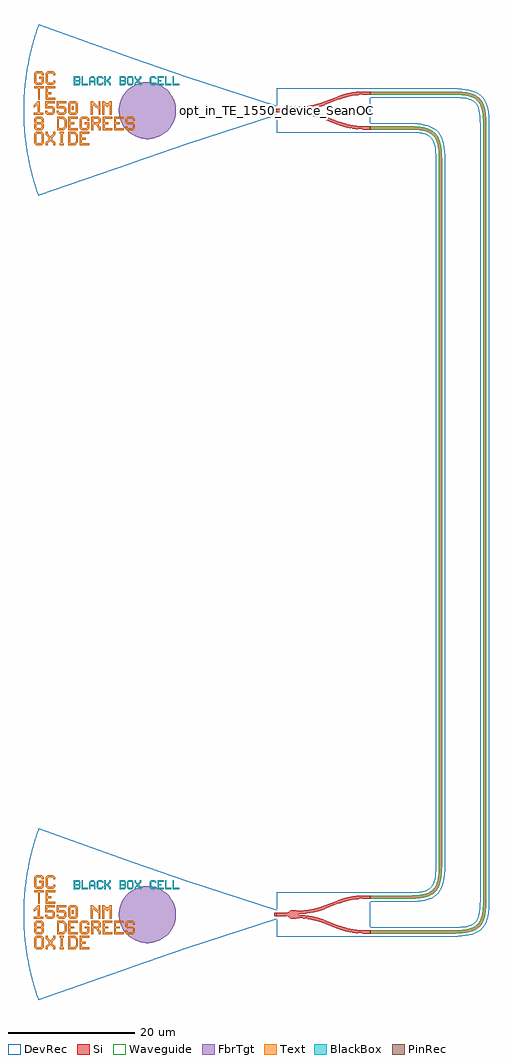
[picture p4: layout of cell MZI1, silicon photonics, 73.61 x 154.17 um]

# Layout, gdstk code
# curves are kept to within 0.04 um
import gdstk
lib = gdstk.Library(unit=1e-6, precision=1e-09)
def R(c, l, rs):  # rectangles x0, y0, x1, y1
    for r in rs: c.add(gdstk.rectangle(r[:2], r[2:], *l))
def P(c, l, *ps):  # polygons
    for p in ps: c.add(gdstk.Polygon(p, *l))
Si = (1, 0)
PinRec = (1, 10)
Waveguide = (1, 99)
Text = (10, 0)
DevRec = (68, 0)
FbrTgt = (81, 0)
BlackBox = (998, 0)

text = lib.new_cell('TEXT')
P(text, BlackBox, [(0,0),(0,1.4),(0.8,1.4),(1,1.2),(0.2,1.2),(0.2,0.8),(0.7,0.8),(0.8,0.9),(0.8,1.1),(0.7,1.2),(1,1.2),(1,0.8),(0.9,0.7),(1,0.6),(0.2,0.6),(0.2,0.2),(0.7,0.2),(0.8,0.3),(0.8,0.5),(0.7,0.6),(1,0.6),(1,0.2),(0.8,0)],
  [(1.2,0),(1.2,1.4),(1.4,1.4),(1.4,0.2),(2.2,0.2),(2.2,0)],
  [(2.4,0),(2.4,1.1),(2.7,1.4),(3.1,1.4),(3.3,1.2),(2.8,1.2),(2.6,1),(2.6,0.7),(3.2,0.7),(3.2,1),(3,1.2),(3.3,1.2),(3.4,1.1),(3.4,0),(3.2,0),(3.2,0.5),(2.6,0.5),(2.6,0)],
  [(3.8,0),(3.6,0.2),(3.6,1.2),(3.8,1.4),(4.4,1.4),(4.6,1.2),(4.6,1),(4.4,1),(4.4,1.1),(4.3,1.2),(3.9,1.2),(3.8,1.1),(3.8,0.3),(3.9,0.2),(4.3,0.2),(4.4,0.3),(4.4,0.4),(4.6,0.4),(4.6,0.2),(4.4,0)],
  [(4.8,0),(4.8,1.4),(5,1.4),(5,0.8),(5.2,0.8),(5.6,1.2),(5.6,1.4),(5.8,1.4),(5.8,1.1),(5.4,0.7),(5.8,0.3),(5.8,0),(5.6,0),(5.6,0.2),(5.2,0.6),(5,0.6),(5,0)],
  [(7.2,0),(7.2,1.4),(8,1.4),(8.2,1.2),(7.4,1.2),(7.4,0.8),(7.9,0.8),(8,0.9),(8,1.1),(7.9,1.2),(8.2,1.2),(8.2,0.8),(8.1,0.7),(8.2,0.6),(7.4,0.6),(7.4,0.2),(7.9,0.2),(8,0.3),(8,0.5),(7.9,0.6),(8.2,0.6),(8.2,0.2),(8,0)],
  [(8.6,0),(8.4,0.2),(8.4,1.2),(8.6,1.4),(9.2,1.4),(9.4,1.2),(9.4,0.7),(9.2,0.7),(9.2,1.1),(9.1,1.2),(8.7,1.2),(8.6,1.1),(8.6,0.3),(8.7,0.2),(9.1,0.2),(9.2,0.3),(9.2,0.7),(9.4,0.7),(9.4,0.2),(9.2,0)],
  [(9.6,0),(9.6,0.3),(9.9,0.6),(9.9,0.8),(9.6,1.1),(9.6,1.4),(9.8,1.4),(9.8,1.2),(10.1,0.9),(10.4,1.2),(10.4,1.4),(10.6,1.4),(10.6,1.1),(10.3,0.8),(10.3,0.6),(10.6,0.3),(10.6,0),(10.4,0),(10.4,0.2),(10.1,0.5),(9.8,0.2),(9.8,0)],
  [(12.2,0),(12,0.2),(12,1.2),(12.2,1.4),(12.8,1.4),(13,1.2),(13,1),(12.8,1),(12.8,1.1),(12.7,1.2),(12.3,1.2),(12.2,1.1),(12.2,0.3),(12.3,0.2),(12.7,0.2),(12.8,0.3),(12.8,0.4),(13,0.4),(13,0.2),(12.8,0)],
  [(13.2,0),(13.2,1.4),(14.2,1.4),(14.2,1.2),(13.4,1.2),(13.4,0.8),(13.8,0.8),(13.8,0.6),(13.4,0.6),(13.4,0.2),(14.2,0.2),(14.2,0)],
  [(14.4,0),(14.4,1.4),(14.6,1.4),(14.6,0.2),(15.4,0.2),(15.4,0)],
  [(15.6,0),(15.6,1.4),(15.8,1.4),(15.8,0.2),(16.6,0.2),(16.6,0)])

gc_te_1550_8degoxide_bb = lib.new_cell('GC_TE_1550_8degOxide_BB')
R(gc_te_1550_8degoxide_bb, Si, [(-0.4,-0.25,0,0.25)])
R(gc_te_1550_8degoxide_bb, Text, [(-32.313,0.092,-32.013,0.692)])
P(gc_te_1550_8degoxide_bb, Text, [(-37.67,1.71),(-37.67,3.51),(-38.27,3.51),(-38.27,3.81),(-36.77,3.81),(-36.77,3.51),(-37.37,3.51),(-37.37,1.71)],
  [(-37.97,-5.49),(-38.27,-5.19),(-38.27,-3.69),(-37.97,-3.39),(-37.07,-3.39),(-36.77,-3.69),(-36.77,-4.44),(-37.07,-4.44),(-37.07,-3.84),(-37.22,-3.69),(-37.82,-3.69),(-37.97,-3.84),(-37.97,-5.04),(-37.82,-5.19),(-37.22,-5.19),(-37.07,-5.04),(-37.07,-4.44),(-36.77,-4.44),(-36.77,-5.19),(-37.07,-5.49)],
  [(-31.07,-5.49),(-31.07,-3.39),(-29.57,-3.39),(-29.57,-3.69),(-30.77,-3.69),(-30.77,-4.29),(-30.17,-4.29),(-30.17,-4.59),(-30.77,-4.59),(-30.77,-5.19),(-29.57,-5.19),(-29.57,-5.49)],
  [(-32.87,-3.09),(-32.87,-0.99),(-31.37,-0.99),(-31.37,-1.29),(-32.57,-1.29),(-32.57,-1.89),(-31.97,-1.89),(-31.97,-2.19),(-32.57,-2.19),(-32.57,-2.79),(-31.37,-2.79),(-31.37,-3.09)],
  [(-27.47,-3.09),(-27.47,-0.99),(-25.97,-0.99),(-25.97,-1.29),(-27.17,-1.29),(-27.17,-1.89),(-26.57,-1.89),(-26.57,-2.19),(-27.17,-2.19),(-27.17,-2.79),(-25.97,-2.79),(-25.97,-3.09)],
  [(-25.67,-3.09),(-25.67,-0.99),(-24.17,-0.99),(-24.17,-1.29),(-25.37,-1.29),(-25.37,-1.89),(-24.77,-1.89),(-24.77,-2.19),(-25.37,-2.19),(-25.37,-2.79),(-24.17,-2.79),(-24.17,-3.09)],
  [(-36.47,1.71),(-36.47,3.81),(-34.97,3.81),(-34.97,3.51),(-36.17,3.51),(-36.17,2.91),(-35.57,2.91),(-35.57,2.61),(-36.17,2.61),(-36.17,2.01),(-34.97,2.01),(-34.97,1.71)],
  [(-29.313,-0.658),(-29.313,1.442),(-29.013,1.442),(-28.263,0.692),(-28.113,0.692),(-28.113,1.442),(-27.813,1.442),(-27.813,-0.658),(-28.113,-0.658),(-28.113,0.092),(-28.863,0.842),(-29.013,0.842),(-29.013,-0.658)],
  [(-34.22,-5.49),(-34.22,-5.19),(-34.07,-5.19),(-34.07,-3.69),(-34.22,-3.69),(-34.22,-3.39),(-33.62,-3.39),(-33.62,-3.69),(-33.77,-3.69),(-33.77,-5.19),(-33.62,-5.19),(-33.62,-5.49)],
  [(-36.17,4.11),(-36.47,4.41),(-36.47,5.91),(-36.17,6.21),(-35.27,6.21),(-34.97,5.91),(-34.97,5.61),(-35.27,5.61),(-35.27,5.76),(-35.42,5.91),(-36.02,5.91),(-36.17,5.76),(-36.17,4.56),(-36.02,4.41),(-35.42,4.41),(-35.27,4.56),(-35.27,4.71),(-34.97,4.71),(-34.97,4.41),(-35.27,4.11)],
  [(-27.513,-0.658),(-27.513,1.442),(-27.213,1.442),(-26.913,1.142),(-26.613,1.142),(-26.313,1.442),(-26.013,1.442),(-26.013,-0.658),(-26.313,-0.658),(-26.313,0.842),(-26.463,0.842),(-26.763,0.542),(-27.063,0.842),(-27.213,0.842),(-27.213,-0.658)],
  [(-32.613,-0.658),(-32.913,-0.358),(-32.913,1.142),(-32.613,1.442),(-31.713,1.442),(-31.413,1.142),(-32.463,1.142),(-32.613,0.992),(-32.613,-0.208),(-32.463,-0.358),(-31.863,-0.358),(-31.713,-0.208),(-31.713,0.992),(-31.863,1.142),(-31.413,1.142),(-31.413,-0.358),(-31.713,-0.658)],
  [(-32.87,-5.49),(-32.87,-3.39),(-31.82,-3.39),(-31.52,-3.69),(-32.57,-3.69),(-32.57,-5.19),(-31.97,-5.19),(-31.67,-4.89),(-31.67,-3.99),(-31.97,-3.69),(-31.52,-3.69),(-31.37,-3.84),(-31.37,-5.04),(-31.82,-5.49)],
  [(-34.67,-3.09),(-34.67,-0.99),(-33.62,-0.99),(-33.32,-1.29),(-34.37,-1.29),(-34.37,-2.79),(-33.77,-2.79),(-33.47,-2.49),(-33.47,-1.59),(-33.77,-1.29),(-33.32,-1.29),(-33.17,-1.44),(-33.17,-2.64),(-33.62,-3.09)],
  [(-23.57,-3.09),(-23.87,-2.79),(-23.87,-2.49),(-23.57,-2.49),(-23.57,-2.64),(-23.42,-2.79),(-22.82,-2.79),(-22.67,-2.64),(-22.67,-2.34),(-22.82,-2.19),(-23.57,-2.19),(-23.87,-1.89),(-23.87,-1.29),(-23.57,-0.99),(-22.67,-0.99),(-22.37,-1.29),(-22.37,-1.59),(-22.67,-1.59),(-22.67,-1.44),(-22.82,-1.29),(-23.42,-1.29),(-23.57,-1.44),(-23.57,-1.74),(-23.42,-1.89),(-22.67,-1.89),(-22.37,-2.19),(-22.37,-2.79),(-22.67,-3.09)],
  [(-36.213,-0.658),(-36.513,-0.358),(-36.513,-0.058),(-36.213,-0.058),(-36.213,-0.208),(-36.063,-0.358),(-35.463,-0.358),(-35.313,-0.208),(-35.313,0.242),(-35.463,0.392),(-36.513,0.392),(-36.513,1.442),(-35.013,1.442),(-35.013,1.142),(-36.213,1.142),(-36.213,0.692),(-35.313,0.692),(-35.013,0.392),(-35.013,-0.358),(-35.313,-0.658)],
  [(-34.413,-0.658),(-34.713,-0.358),(-34.713,-0.058),(-34.413,-0.058),(-34.413,-0.208),(-34.263,-0.358),(-33.663,-0.358),(-33.513,-0.208),(-33.513,0.242),(-33.663,0.392),(-34.713,0.392),(-34.713,1.442),(-33.213,1.442),(-33.213,1.142),(-34.413,1.142),(-34.413,0.692),(-33.513,0.692),(-33.213,0.392),(-33.213,-0.358),(-33.513,-0.658)],
  [(-37.97,-3.09),(-38.27,-2.79),(-38.27,-2.19),(-38.12,-2.04),(-38.27,-1.89),(-38.27,-1.29),(-37.97,-0.99),(-37.07,-0.99),(-36.77,-1.29),(-37.82,-1.29),(-37.97,-1.44),(-37.97,-1.74),(-37.82,-1.89),(-37.22,-1.89),(-37.07,-1.74),(-37.07,-1.44),(-37.22,-1.29),(-36.77,-1.29),(-36.77,-1.89),(-36.92,-2.04),(-36.77,-2.19),(-37.82,-2.19),(-37.97,-2.34),(-37.97,-2.64),(-37.82,-2.79),(-37.22,-2.79),(-37.07,-2.64),(-37.07,-2.34),(-37.22,-2.19),(-36.77,-2.19),(-36.77,-2.79),(-37.07,-3.09)],
  [(-38.313,-0.658),(-38.313,-0.358),(-37.713,-0.358),(-37.713,0.842),(-37.863,0.842),(-38.163,0.542),(-38.313,0.542),(-38.313,0.842),(-37.713,1.442),(-37.413,1.442),(-37.413,-0.358),(-36.813,-0.358),(-36.813,-0.658)],
  [(-36.47,-5.49),(-36.47,-5.04),(-36.02,-4.59),(-36.02,-4.29),(-36.47,-3.84),(-36.47,-3.39),(-36.17,-3.39),(-36.17,-3.69),(-35.72,-4.14),(-35.27,-3.69),(-35.27,-3.39),(-34.97,-3.39),(-34.97,-3.84),(-35.42,-4.29),(-35.42,-4.59),(-34.97,-5.04),(-34.97,-5.49),(-35.27,-5.49),(-35.27,-5.19),(-35.72,-4.74),(-36.17,-5.19),(-36.17,-5.49)],
  [(-30.77,-3.09),(-31.07,-2.79),(-31.07,-1.29),(-30.77,-0.99),(-29.87,-0.99),(-29.57,-1.29),(-29.57,-1.59),(-29.87,-1.59),(-29.87,-1.44),(-30.02,-1.29),(-30.62,-1.29),(-30.77,-1.44),(-30.77,-2.64),(-30.62,-2.79),(-30.02,-2.79),(-29.87,-2.64),(-29.87,-2.19),(-30.32,-2.19),(-30.32,-1.89),(-29.57,-1.89),(-29.57,-2.79),(-29.87,-3.09)],
  [(-37.97,4.11),(-38.27,4.41),(-38.27,5.91),(-37.97,6.21),(-37.07,6.21),(-36.77,5.91),(-36.77,5.61),(-37.07,5.61),(-37.07,5.76),(-37.22,5.91),(-37.82,5.91),(-37.97,5.76),(-37.97,4.56),(-37.82,4.41),(-37.22,4.41),(-37.07,4.56),(-37.07,5.01),(-37.52,5.01),(-37.52,5.31),(-36.77,5.31),(-36.77,4.41),(-37.07,4.11)],
  [(-29.27,-3.09),(-29.27,-0.99),(-28.07,-0.99),(-27.77,-1.29),(-28.97,-1.29),(-28.97,-1.89),(-28.22,-1.89),(-28.07,-1.74),(-28.07,-1.44),(-28.22,-1.29),(-27.77,-1.29),(-27.77,-1.89),(-28.07,-2.19),(-28.07,-2.34),(-27.77,-2.64),(-27.77,-3.09),(-28.07,-3.09),(-28.07,-2.79),(-28.67,-2.19),(-28.97,-2.19),(-28.97,-3.09)])
P(gc_te_1550_8degoxide_bb, DevRec, [(-37.607,-13.5),(-38.627,-10.245),(-39.378,-6.832),(-39.647,-5.058),(-39.835,-3.274),(-39.969,0.224),(-39.812,3.541),(-39.331,7.097),(-38.557,10.505),(-37.546,13.669),(-22.8,8.353),(-14.109,5.36),(0,0.75),(0,-0.75),(-14.109,-5.36)])
P(gc_te_1550_8degoxide_bb, FbrTgt, [(-20.621,-4.5),(-21.495,-4.37),(-22.326,-4.073),(-23.084,-3.619),(-23.738,-3.026),(-24.264,-2.316),(-24.642,-1.518),(-24.857,-0.661),(-24.9,0.221),(-24.77,1.095),(-24.473,1.926),(-24.019,2.684),(-23.426,3.338),(-22.716,3.864),(-21.918,4.242),(-21.061,4.457),(-20.179,4.5),(-19.305,4.37),(-18.474,4.073),(-17.716,3.619),(-17.062,3.026),(-16.536,2.316),(-16.158,1.518),(-15.943,0.661),(-15.9,-0.221),(-16.03,-1.095),(-16.327,-1.926),(-16.781,-2.684),(-17.374,-3.338),(-18.084,-3.864),(-18.882,-4.242),(-19.739,-4.457)])
gc_te_1550_8degoxide_bb.add(gdstk.FlexPath([(-0.01,0),(0.01,0)], 0.5, ends="flush", simple_path=True, layer=1, datatype=10))  # PinRec
gc_te_1550_8degoxide_bb.add(gdstk.Reference(text, (-32,4)))
gc_te_1550_8degoxide_bb.add(gdstk.Label('opt1', (0,0), layer=1, texttype=10))
gc_te_1550_8degoxide_bb.add(gdstk.Label('Lumerical_INTERCONNECT_library=Design kits/ebeam', (-29,-7), layer=68, texttype=0))
gc_te_1550_8degoxide_bb.add(gdstk.Label('Component=GC_TE_1550_8degOxide_BB', (-28,-5), layer=68, texttype=0))

ebeam_y_1550 = lib.new_cell('ebeam_y_1550')
R(ebeam_y_1550, Si, [(6.5,-3,7.4,-2.5), (-7.4,-0.25,-6,0.25), (6.5,2.5,7.4,3)])
P(ebeam_y_1550, Si, [(6.458,-3),(6.237,-2.997),(6.237,-2.497),(6.5,-2.5),(6.5,-3)],
  [(5.033,-2.908),(3.59,-2.634),(2.265,-2.21),(2.445,-1.744),(3.731,-2.154),(5.033,-2.404)],
  [(6.233,-2.997),(5.033,-2.908),(5.033,-2.404),(6.237,-2.497)],
  [(2.265,-2.21),(0.055,-1.356),(0.235,-0.89),(2.445,-1.744)],
  [(-0.762,-1.076),(-2.334,-0.724),(-4,-0.6),(-4,-0.1),(-2.381,-0.212),(-0.762,-0.555)],
  [(0.055,-1.356),(-0.762,-1.076),(-0.762,-0.555),(0.235,-0.89)],
  [(6.237,2.497),(6.237,2.997),(6.5,3),(6.5,2.5)],
  [(2.445,1.744),(2.267,2.211),(3.59,2.634),(5.033,2.908),(5.033,2.404),(3.731,2.154)],
  [(5.033,2.404),(5.033,2.908),(6.237,2.997),(6.237,2.497)],
  [(0.235,0.89),(0.055,1.356),(2.265,2.21),(2.445,1.744)],
  [(-4,0.1),(-4,0.6),(-2.334,0.724),(-0.762,1.076),(-0.762,0.555),(-2.381,0.212)],
  [(-0.762,0.555),(-0.762,1.076),(0.055,1.356),(0.235,0.89)],
  [(-5.122,-0.662),(-5.442,-0.374),(-5.808,-0.255),(-6,-0.25),(-6,0.25),(-5.817,0.253),(-5.442,0.374),(-5.122,0.662)],
  [(-4.957,-0.703),(-5.122,-0.662),(-5.122,0.662),(-4.538,0.703),(-4,0.6),(-4,-0.6),(-4.509,-0.701)])
R(ebeam_y_1550, DevRec, [(-7.4,-3.5,7.4,3.5)])
ebeam_y_1550.add(gdstk.FlexPath([(-7.35,0),(-7.45,0)], 0.5, ends="flush", simple_path=True, layer=1, datatype=10))  # PinRec
ebeam_y_1550.add(gdstk.FlexPath([(7.35,2.75),(7.45,2.75)], 0.5, ends="flush", simple_path=True, layer=1, datatype=10))  # PinRec
ebeam_y_1550.add(gdstk.FlexPath([(7.35,-2.75),(7.45,-2.75)], 0.5, ends="flush", simple_path=True, layer=1, datatype=10))  # PinRec
ebeam_y_1550.add(gdstk.Label('opt2', (7.4,2.75), layer=1, texttype=10))
ebeam_y_1550.add(gdstk.Label('opt3', (7.4,-2.75), layer=1, texttype=10))
ebeam_y_1550.add(gdstk.Label('opt1', (-7.4,0), layer=1, texttype=10))
ebeam_y_1550.add(gdstk.Label('Component=ebeam_y_1550', (-6,1.5), layer=68, texttype=0))
ebeam_y_1550.add(gdstk.Label('Lumerical_INTERCONNECT_library=Design kits/ebeam', (-6.86,-2.19), layer=68, texttype=0))
ebeam_y_1550.add(gdstk.Label('Ref: Y Zhang, Opt. Express, 21/1, 2013', (-7.5,-1), layer=10, texttype=0))

waveguide_2 = lib.new_cell('Waveguide$2')
P(waveguide_2, Si, [(16.6,-1.8),(16.6,-1.3),(29.907,-1.299),(31.075,-1.247),(32.031,-1.105),(32.993,-0.76),(33.357,-0.516),(33.655,-0.218),(34.095,0.585),(34.368,1.89),(34.44,3.45),(34.44,125.95),(34.328,127.839),(34.051,128.931),(33.587,129.696),(33.184,130.043),(32.784,130.263),(31.735,130.562),(30.897,130.661),(29.69,130.7),(16.6,130.7),(16.6,131.2),(29.69,131.2),(31.304,131.126),(32.294,130.955),(32.988,130.719),(33.571,130.382),(34.042,129.933),(34.401,129.372),(34.696,128.553),(34.846,127.74),(34.931,126.597),(34.94,3.45),(34.866,1.836),(34.732,1),(34.565,0.417),(34.337,-0.094),(34.041,-0.534),(33.673,-0.902),(33.233,-1.198),(32.722,-1.426),(31.982,-1.625),(31.121,-1.745),(29.911,-1.799)])
P(waveguide_2, Waveguide, [(16.6,-1.8),(16.6,-1.3),(29.907,-1.299),(31.075,-1.247),(32.031,-1.105),(32.993,-0.76),(33.357,-0.516),(33.655,-0.218),(34.095,0.585),(34.368,1.89),(34.44,3.45),(34.44,125.95),(34.328,127.839),(34.051,128.931),(33.587,129.696),(33.184,130.043),(32.784,130.263),(31.735,130.562),(30.897,130.661),(29.69,130.7),(16.6,130.7),(16.6,131.2),(29.69,131.2),(31.304,131.126),(32.294,130.955),(32.988,130.719),(33.571,130.382),(34.042,129.933),(34.401,129.372),(34.696,128.553),(34.846,127.74),(34.931,126.597),(34.94,3.45),(34.866,1.836),(34.732,1),(34.565,0.417),(34.337,-0.094),(34.041,-0.534),(33.673,-0.902),(33.233,-1.198),(32.722,-1.426),(31.982,-1.625),(31.121,-1.745),(29.911,-1.799)])
P(waveguide_2, DevRec, [(16.6,-2.3),(16.6,-0.8),(29.689,-0.8),(30.92,-0.758),(31.883,-0.625),(32.585,-0.405),(33.065,-0.108),(33.247,0.074),(33.544,0.554),(33.664,0.874),(33.842,1.705),(33.94,3.45),(33.94,125.95),(33.843,127.694),(33.665,128.525),(33.545,128.845),(33.248,129.325),(33.066,129.507),(32.586,129.804),(31.435,130.102),(29.689,130.2),(16.6,130.2),(16.6,131.7),(29.691,131.7),(31.643,131.588),(32.718,131.354),(33.2,131.172),(34.04,130.647),(34.388,130.299),(34.679,129.9),(35.095,128.977),(35.329,127.902),(35.43,126.651),(35.44,3.45),(35.328,1.497),(35.094,0.422),(34.912,-0.06),(34.387,-0.9),(33.64,-1.539),(33.199,-1.773),(32.199,-2.091),(31.04,-2.254),(29.691,-2.3)])
waveguide_2.add(gdstk.FlexPath([(16.61,-1.55),(16.59,-1.55)], 0.5, ends="flush", simple_path=True, layer=1, datatype=10))  # PinRec
waveguide_2.add(gdstk.FlexPath([(16.61,130.95),(16.59,130.95)], 0.5, ends="flush", simple_path=True, layer=1, datatype=10))  # PinRec
waveguide_2.add(gdstk.Label('opt1', (16.6,-1.55), layer=1, texttype=10))
waveguide_2.add(gdstk.Label('opt2', (16.6,130.95), layer=1, texttype=10))
waveguide_2.add(gdstk.Label('Lumerical_INTERCONNECT_library=Design kits/EBeam', (16.6,-1.65), layer=68, texttype=0))
waveguide_2.add(gdstk.Label('Component=ebeam_wg_integral_1550', (16.6,-1.45), layer=68, texttype=0))
waveguide_2.add(gdstk.Label('cellName=Waveguide', (16.6,-1.35), layer=68, texttype=0))
waveguide_2.add(gdstk.Label('Spice_param:wg_length=0.000165577 wg_width=5e-07 points="[[16.6,-1.55],[34.69,-1.55],[34.69,130.95],[16.6,130.95]]" radius=5e-06', (16.6,-1.55), layer=68, texttype=0))
waveguide_2.add(gdstk.Label('Length=165.577 (microns)', (16.6,-2.15), layer=68, texttype=0))
waveguide_2.add(gdstk.Label('waveguide_type=Strip TE 1550 nm, w=500 nm', (16.6,-1.75), layer=68, texttype=0))

waveguide_1 = lib.new_cell('Waveguide$1')
P(waveguide_1, Si, [(16.6,3.7),(16.6,4.2),(23.52,4.218),(24.735,4.338),(25.672,4.59),(26.358,4.985),(26.656,5.283),(26.9,5.647),(27.245,6.609),(27.413,7.929),(27.44,120.45),(27.386,121.836),(27.175,123.063),(26.783,123.944),(26.513,124.273),(26.183,124.544),(25.431,124.897),(24.579,125.088),(23.321,125.191),(16.6,125.2),(16.6,125.7),(23.739,125.673),(24.82,125.555),(25.722,125.326),(26.461,124.96),(26.956,124.533),(27.337,123.994),(27.655,123.201),(27.845,122.241),(27.93,121.098),(27.913,7.901),(27.733,6.501),(27.566,5.918),(27.338,5.407),(27.042,4.967),(26.674,4.599),(26.234,4.303),(25.723,4.075),(24.821,3.846),(23.542,3.718)])
P(waveguide_1, Waveguide, [(16.6,3.7),(16.6,4.2),(23.52,4.218),(24.735,4.338),(25.672,4.59),(26.358,4.985),(26.656,5.283),(26.9,5.647),(27.245,6.609),(27.413,7.929),(27.44,120.45),(27.386,121.836),(27.175,123.063),(26.783,123.944),(26.513,124.273),(26.183,124.544),(25.431,124.897),(24.579,125.088),(23.321,125.191),(16.6,125.2),(16.6,125.7),(23.739,125.673),(24.82,125.555),(25.722,125.326),(26.461,124.96),(26.956,124.533),(27.337,123.994),(27.655,123.201),(27.845,122.241),(27.93,121.098),(27.913,7.901),(27.733,6.501),(27.566,5.918),(27.338,5.407),(27.042,4.967),(26.674,4.599),(26.234,4.303),(25.723,4.075),(24.821,3.846),(23.542,3.718)])
P(waveguide_1, DevRec, [(16.6,3.2),(16.6,4.7),(23.34,4.711),(24.435,4.798),(25.586,5.096),(26.066,5.393),(26.248,5.575),(26.545,6.055),(26.765,6.757),(26.898,7.72),(26.94,8.95),(26.94,120.45),(26.897,121.681),(26.764,122.644),(26.404,123.609),(26.247,123.826),(25.848,124.165),(25.265,124.425),(24.434,124.603),(23.339,124.69),(16.6,124.7),(16.6,126.2),(24.04,126.154),(25.199,125.991),(26.199,125.673),(27.039,125.148),(27.387,124.8),(27.678,124.401),(28.094,123.478),(28.328,122.403),(28.429,121.152),(28.44,8.95),(28.394,7.6),(28.231,6.441),(28.095,5.923),(27.679,5),(27.04,4.253),(26.641,3.962),(25.718,3.546),(24.643,3.312),(23.392,3.211)])
waveguide_1.add(gdstk.FlexPath([(16.61,125.45),(16.59,125.45)], 0.5, ends="flush", simple_path=True, layer=1, datatype=10))  # PinRec
waveguide_1.add(gdstk.FlexPath([(16.61,3.95),(16.59,3.95)], 0.5, ends="flush", simple_path=True, layer=1, datatype=10))  # PinRec
waveguide_1.add(gdstk.Label('opt1', (16.6,125.45), layer=1, texttype=10))
waveguide_1.add(gdstk.Label('opt2', (16.6,3.95), layer=1, texttype=10))
waveguide_1.add(gdstk.Label('Lumerical_INTERCONNECT_library=Design kits/EBeam', (16.6,125.35), layer=68, texttype=0))
waveguide_1.add(gdstk.Label('Component=ebeam_wg_integral_1550', (16.6,125.55), layer=68, texttype=0))
waveguide_1.add(gdstk.Label('cellName=Waveguide', (16.6,125.65), layer=68, texttype=0))
waveguide_1.add(gdstk.Label('Spice_param:wg_length=0.000140577 wg_width=5e-07 points="[[16.6,125.45],[27.69,125.45],[27.69,3.95],[16.6,3.95]]" radius=5e-06', (16.6,125.45), layer=68, texttype=0))
waveguide_1.add(gdstk.Label('Length=140.577 (microns)', (16.6,124.85), layer=68, texttype=0))
waveguide_1.add(gdstk.Label('waveguide_type=Strip TE 1550 nm, w=500 nm', (16.6,125.25), layer=68, texttype=0))

mzi1 = lib.new_cell('MZI1')
mzi1.add(gdstk.Reference(gc_te_1550_8degoxide_bb, (50.42,20.06)))
mzi1.add(gdstk.Reference(ebeam_y_1550, (57.82,147.06)))
mzi1.add(gdstk.Reference(ebeam_y_1550, (57.82,20.06)))
mzi1.add(gdstk.Reference(gc_te_1550_8degoxide_bb, (50.42,147.06)))
mzi1.add(gdstk.Reference(waveguide_2, (48.62,18.86)))
mzi1.add(gdstk.Reference(waveguide_1, (48.62,18.86)))
mzi1.add(gdstk.Label('opt_in_TE_1550_device_SeanOConnor_MZI1', (50.42,147.06), layer=10, texttype=0))

lib.write_gds('MZI1.gds')
